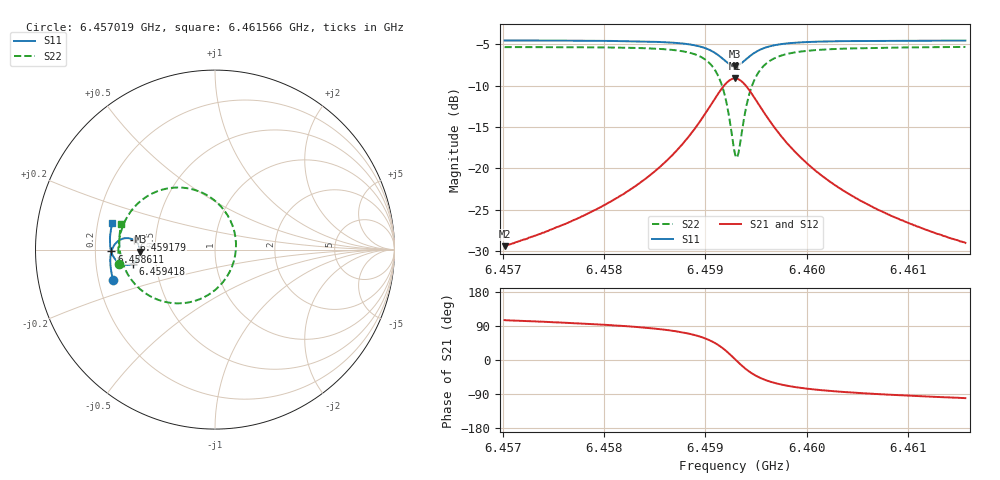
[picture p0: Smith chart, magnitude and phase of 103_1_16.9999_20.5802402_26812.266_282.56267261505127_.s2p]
#  HZ  S  RI  R  50.00
! Rohde & Schwarz Vector Network Analyzer
! Rohde-Schwarz,ZNB20-2Port,1311601062101988,3.16
! Created: UTC 3/20/2024, 10:56:42 PM
! freq[Hz]  re:S11  im:S11  re:S21  im:S21  re:S12  im:S12  re:S22  im:S22
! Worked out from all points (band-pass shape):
!   401 points, 6.457019 GHz to 6.461566 GHz, reference 50 ohm
!   highest |S21| = -9.14 dB at 6.459293 GHz (marker M1); lowest = -29.4 dB at 6.457019 GHz (marker M2)
!   |S21| within 3 dB of the highest: 6.459065 GHz to 6.45952 GHz (455.1 kHz wide, 0.00705 % of centre)
!   lowest |S11| = -7.6 dB at 6.459293 GHz (marker M3), VSWR 2.42, Z = 20.6 - j0.548 ohm
!   |S11| at or under -10 dB: nowhere
!   |S22| runs from -18.7 to -5.3 dB; largest |S21 - S12| = 0.014
!   S11 on the Smith chart (normalised r, x): 6.457019 GHz: 0.26, -0.14; 6.458611 GHz: 0.27, -0.01; 6.459179 GHz: 0.38, +0.05; 6.459418 GHz: 0.37, -0.07; 6.461566 GHz: 0.26, +0.12
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6.4570194e9  -0.5669 -0.1703  -0.00891 0.0327  -0.00712 0.0328  -0.5337 -0.0803
6.457781e9  -0.5807 -0.1034  -0.0055 0.051  -0.00286 0.0504  -0.5382 0.00918
6.4581902e9  -0.5833 -0.0623  0.000354 0.0699  0.00361 0.0686  -0.5302 0.0745
6.4585426e9  -0.5795 -0.02  0.0147 0.0997  0.0187 0.097  -0.5038 0.1545
6.4586109e9  -0.5771 -0.0105  0.0201 0.1082  0.0242 0.105  -0.4935 0.1745
6.4588041e9  -0.5644 0.02  0.047 0.1394  0.0511 0.1344  -0.4429 0.2437
6.4589519e9  -0.5414 0.0464  0.0928 0.1701  0.0961 0.1634  -0.3582 0.3083
6.4590883e9  -0.4969 0.064  0.1812 0.1866  0.1821 0.1793  -0.1973 0.346
6.4591792e9  -0.4517 0.0533  0.2719 0.1546  0.2723 0.1488  -0.0296 0.2938
6.4592475e9  -0.4223 0.0207  0.3327 0.0816  0.335 0.0763  0.0857 0.1623
6.4592929e9  -0.4154 -0.011  0.3488 0.0129  0.3527 0.00593  0.1171 0.0339
6.4593043e9  -0.4161 -0.019  0.3485 -0.00505  0.3525 -0.0128  0.1163 2.09e-05
6.459327e9  -0.4196 -0.0348  0.3428 -0.04  0.3467 -0.0493  0.1045 -0.0663
6.4593725e9  -0.4354 -0.0613  0.3136 -0.1003  0.3158 -0.1124  0.0454 -0.1798
6.459418e9  -0.4577 -0.0778  0.2711 -0.1414  0.2701 -0.1549  -0.0408 -0.2542
6.4595089e9  -0.5017 -0.0849  0.1854 -0.1723  0.1791 -0.1842  -0.2109 -0.2995
6.4596567e9  -0.5459 -0.0644  0.0969 -0.1582  0.0883 -0.1644  -0.379 -0.2489
6.4598158e9  -0.5678 -0.0367  0.0518 -0.1299  0.0441 -0.1327  -0.4595 -0.1761
6.4600546e9  -0.5807 -0.00112  0.0225 -0.0981  0.0166 -0.0987  -0.5076 -0.0934
6.4603842e9  -0.5854 0.0384  0.00666 -0.0717  0.00253 -0.0712  -0.5284 -0.0163
6.4608162e9  -0.5837 0.0822  -0.00135 -0.0524  -0.00435 -0.0514  -0.533 0.0538
6.4615665e9  -0.572 0.1488  -0.00652 -0.0349  -0.00824 -0.0339  -0.5217 0.143
